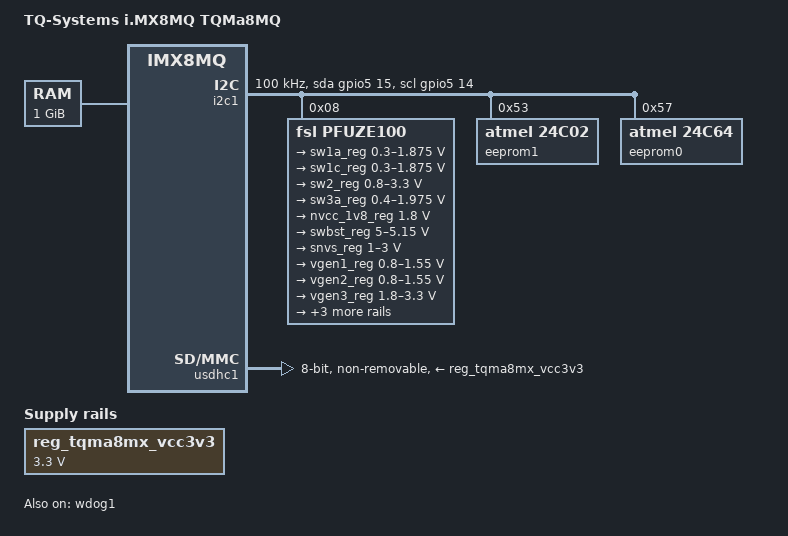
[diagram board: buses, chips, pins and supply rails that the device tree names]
// SPDX-License-Identifier: GPL-2.0-or-later OR MIT
/*
 * Copyright 2019 - 2021 TQ-Systems GmbH
 */

#include "imx8mq.dtsi"

/ {
	model = "TQ-Systems i.MX8MQ TQMa8MQ";
	compatible = "tq,imx8mq-tqma8mq", "fsl,imx8mq";

	chosen {
	};

	firmware {
		optee {
			compatible = "linaro,optee-tz";
			method = "smc";
		};
	};

	memory@40000000 {
		device_type = "memory";
		reg = <0x00000000 0x40000000 0 0x40000000>;
	};

	reg_tqma8mx_vcc3v3: regulator-vcc3v3 {
		compatible = "regulator-fixed";
		regulator-name = "TQMA8MX_VCC3V3";
		regulator-min-microvolt = <3300000>;
		regulator-max-microvolt = <3300000>;
		regulator-always-on;
	};
};

&iomuxc {
	pinctrl_i2c1: i2c1grp {
		fsl,pins = <
			MX8MQ_IOMUXC_I2C1_SCL_I2C1_SCL		0x4000007f
			MX8MQ_IOMUXC_I2C1_SDA_I2C1_SDA		0x4000007f
		>;
	};

	pinctrl_i2c1_gpio: i2c1gpiogrp {
		fsl,pins = <
			MX8MQ_IOMUXC_I2C1_SCL_GPIO5_IO14	0x4000007f
			MX8MQ_IOMUXC_I2C1_SDA_GPIO5_IO15	0x4000007f
		>;
	};

	pinctrl_usdhc1: usdhc1grp {
		fsl,pins = <
			MX8MQ_IOMUXC_SD1_CLK_USDHC1_CLK			0x83
			MX8MQ_IOMUXC_SD1_CMD_USDHC1_CMD			0xc3
			MX8MQ_IOMUXC_SD1_DATA0_USDHC1_DATA0		0xc3
			MX8MQ_IOMUXC_SD1_DATA1_USDHC1_DATA1		0xc3
			MX8MQ_IOMUXC_SD1_DATA2_USDHC1_DATA2		0xc3
			MX8MQ_IOMUXC_SD1_DATA3_USDHC1_DATA3		0xc3
			MX8MQ_IOMUXC_SD1_DATA4_USDHC1_DATA4		0xc3
			MX8MQ_IOMUXC_SD1_DATA5_USDHC1_DATA5		0xc3
			MX8MQ_IOMUXC_SD1_DATA6_USDHC1_DATA6		0xc3
			MX8MQ_IOMUXC_SD1_DATA7_USDHC1_DATA7		0xc3
			MX8MQ_IOMUXC_SD1_STROBE_USDHC1_STROBE		0x83
			MX8MQ_IOMUXC_SD1_RESET_B_USDHC1_RESET_B		0xc1
		>;
	};

	pinctrl_usdhc1_100mhz: usdhc1grp100mhz {
		fsl,pins = <
			MX8MQ_IOMUXC_SD1_CLK_USDHC1_CLK			0x85
			MX8MQ_IOMUXC_SD1_CMD_USDHC1_CMD			0xc5
			MX8MQ_IOMUXC_SD1_DATA0_USDHC1_DATA0		0xc5
			MX8MQ_IOMUXC_SD1_DATA1_USDHC1_DATA1		0xc5
			MX8MQ_IOMUXC_SD1_DATA2_USDHC1_DATA2		0xc5
			MX8MQ_IOMUXC_SD1_DATA3_USDHC1_DATA3		0xc5
			MX8MQ_IOMUXC_SD1_DATA4_USDHC1_DATA4		0xc5
			MX8MQ_IOMUXC_SD1_DATA5_USDHC1_DATA5		0xc5
			MX8MQ_IOMUXC_SD1_DATA6_USDHC1_DATA6		0xc5
			MX8MQ_IOMUXC_SD1_DATA7_USDHC1_DATA7		0xc5
			MX8MQ_IOMUXC_SD1_STROBE_USDHC1_STROBE		0x85
			MX8MQ_IOMUXC_SD1_RESET_B_USDHC1_RESET_B		0xc1
		>;
	};

	pinctrl_usdhc1_200mhz: usdhc1grp200mhz {
		fsl,pins = <
			MX8MQ_IOMUXC_SD1_CLK_USDHC1_CLK			0x87
			MX8MQ_IOMUXC_SD1_CMD_USDHC1_CMD			0xc7
			MX8MQ_IOMUXC_SD1_DATA0_USDHC1_DATA0		0xc7
			MX8MQ_IOMUXC_SD1_DATA1_USDHC1_DATA1		0xc7
			MX8MQ_IOMUXC_SD1_DATA2_USDHC1_DATA2		0xc7
			MX8MQ_IOMUXC_SD1_DATA3_USDHC1_DATA3		0xc7
			MX8MQ_IOMUXC_SD1_DATA4_USDHC1_DATA4		0xc7
			MX8MQ_IOMUXC_SD1_DATA5_USDHC1_DATA5		0xc7
			MX8MQ_IOMUXC_SD1_DATA6_USDHC1_DATA6		0xc7
			MX8MQ_IOMUXC_SD1_DATA7_USDHC1_DATA7		0xc7
			MX8MQ_IOMUXC_SD1_STROBE_USDHC1_STROBE		0x87
			MX8MQ_IOMUXC_SD1_RESET_B_USDHC1_RESET_B		0xc1
		>;
	};

	pinctrl_wdog: wdoggrp {
		fsl,pins = <
			MX8MQ_IOMUXC_GPIO1_IO02_WDOG1_WDOG_B		0xc6
		>;
	};
};

&i2c1 {
	clock-frequency = <100000>;
	pinctrl-names = "default", "gpio";
	pinctrl-0 = <&pinctrl_i2c1>;
	pinctrl-1 = <&pinctrl_i2c1_gpio>;
	scl-gpios = <&gpio5 14 GPIO_ACTIVE_HIGH>;
	sda-gpios = <&gpio5 15 GPIO_ACTIVE_HIGH>;
	status = "okay";

	pfuze100: pmic@8 {
		compatible = "fsl,pfuze100";
		reg = <0x8>;

		regulators {
			sw1a_reg: sw1ab {
				regulator-min-microvolt = <300000>;
				regulator-max-microvolt = <1875000>;
				regulator-always-on;
			};

			sw1c_reg: sw1c {
				regulator-min-microvolt = <300000>;
				regulator-max-microvolt = <1875000>;
				regulator-always-on;
			};

			sw2_reg: sw2 {
				regulator-min-microvolt = <800000>;
				regulator-max-microvolt = <3300000>;
				regulator-always-on;
			};

			sw3a_reg: sw3ab {
				regulator-min-microvolt = <400000>;
				regulator-max-microvolt = <1975000>;
				regulator-always-on;
			};

			nvcc_1v8_reg: sw4 {
				regulator-min-microvolt = <1800000>;
				regulator-max-microvolt = <1800000>;
				regulator-always-on;
			};

			swbst_reg: swbst {
				regulator-min-microvolt = <5000000>;
				regulator-max-microvolt = <5150000>;
			};

			snvs_reg: vsnvs {
				regulator-min-microvolt = <1000000>;
				regulator-max-microvolt = <3000000>;
				regulator-always-on;
			};

			vref_reg: vrefddr {
				regulator-always-on;
			};

			vgen1_reg: vgen1 {
				regulator-min-microvolt = <800000>;
				regulator-max-microvolt = <1550000>;
			};

			vgen2_reg: vgen2 {
				regulator-min-microvolt = <800000>;
				regulator-max-microvolt = <1550000>;
				regulator-always-on;
			};

			vgen3_reg: vgen3 {
				regulator-min-microvolt = <1800000>;
				regulator-max-microvolt = <3300000>;
				regulator-always-on;
			};

			vgen4_reg: vgen4 {
				regulator-min-microvolt = <1800000>;
				regulator-max-microvolt = <3300000>;
				regulator-always-on;
			};

			vgen5_reg: vgen5 {
				regulator-min-microvolt = <1800000>;
				regulator-max-microvolt = <3300000>;
				regulator-always-on;
			};

			vgen6_reg: vgen6 {
				regulator-min-microvolt = <1800000>;
				regulator-max-microvolt = <3300000>;
			};
		};
	};

	eeprom1: eeprom@53 {
		compatible = "atmel,24c02";
		reg = <0x53>;
		pagesize = <16>;
	};

	eeprom0: eeprom@57 {
		compatible = "atmel,24c64";
		reg = <0x57>;
		pagesize = <32>;
	};
};

&usdhc1 {
	pinctrl-names = "default", "state_100mhz", "state_200mhz";
	pinctrl-0 = <&pinctrl_usdhc1>;
	pinctrl-1 = <&pinctrl_usdhc1_100mhz>;
	pinctrl-2 = <&pinctrl_usdhc1_200mhz>;
	bus-width = <8>;
	non-removable;
	vmmc-supply = <&reg_tqma8mx_vcc3v3>;
	vqmmc-supply = <&nvcc_1v8_reg>;
	no-sd;
	no-sdio;
	status = "okay";
};

&wdog1 {
	pinctrl-names = "default";
	pinctrl-0 = <&pinctrl_wdog>;
	fsl,ext-reset-output;
	status = "okay";
};
